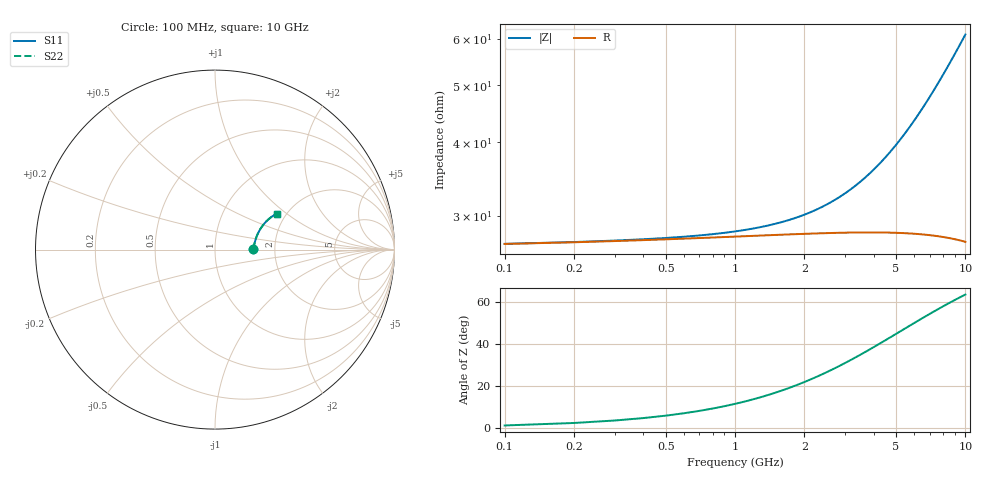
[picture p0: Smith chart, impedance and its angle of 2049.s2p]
# Hz S RI R 50.00
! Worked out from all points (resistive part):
!   100 points, 100 MHz to 10 GHz, reference 50 ohm
!   read as one part in series: R = 26.9 ohm at 100 MHz
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1e8  0.2118 0.00264  0.7882 -0.00427  0.7882 -0.00427  0.2118 0.00264
2e8  0.213 0.00527  0.787 -0.00852  0.787 -0.00852  0.213 0.00527
3e8  0.2138 0.00788  0.7862 -0.0128  0.7862 -0.0128  0.2138 0.00788
9e8  0.2176 0.0234  0.7823 -0.038  0.7823 -0.038  0.2176 0.0234
1.2e9  0.2194 0.031  0.7804 -0.0505  0.7804 -0.0505  0.2194 0.031
1.5e9  0.2212 0.0386  0.7784 -0.063  0.7784 -0.063  0.2212 0.0386
1.8e9  0.2232 0.0462  0.7763 -0.0754  0.7763 -0.0754  0.2232 0.0462
2.2e9  0.2261 0.0561  0.7731 -0.0918  0.7731 -0.0918  0.2261 0.0561
2.6e9  0.2294 0.0658  0.7696 -0.1081  0.7696 -0.1081  0.2294 0.0658
3e9  0.233 0.0754  0.7657 -0.1242  0.7657 -0.1242  0.233 0.0754
3.4e9  0.2369 0.0848  0.7614 -0.1401  0.7614 -0.1401  0.2369 0.0848
3.8e9  0.2412 0.094  0.7566 -0.1558  0.7566 -0.1558  0.2412 0.094
4.2e9  0.2458 0.103  0.7515 -0.1713  0.7515 -0.1713  0.2458 0.103
4.6e9  0.2508 0.1118  0.746 -0.1866  0.746 -0.1866  0.2508 0.1118
5.1e9  0.2575 0.1223  0.7386 -0.2053  0.7386 -0.2053  0.2575 0.1223
5.9e9  0.2692 0.1384  0.7256 -0.2344  0.7256 -0.2344  0.2692 0.1384
6.7e9  0.2821 0.1532  0.7113 -0.2624  0.7113 -0.2624  0.2821 0.1532
7.2e9  0.2906 0.1618  0.7017 -0.2792  0.7017 -0.2792  0.2906 0.1618
7.6e9  0.2978 0.1684  0.6937 -0.2923  0.6937 -0.2923  0.2978 0.1684
8.4e9  0.3126 0.1804  0.6769 -0.3176  0.6769 -0.3176  0.3126 0.1804
9.2e9  0.3282 0.1911  0.6591 -0.3415  0.6591 -0.3415  0.3282 0.1911
1e10  0.3444 0.2004  0.6406 -0.364  0.6406 -0.364  0.3444 0.2004
